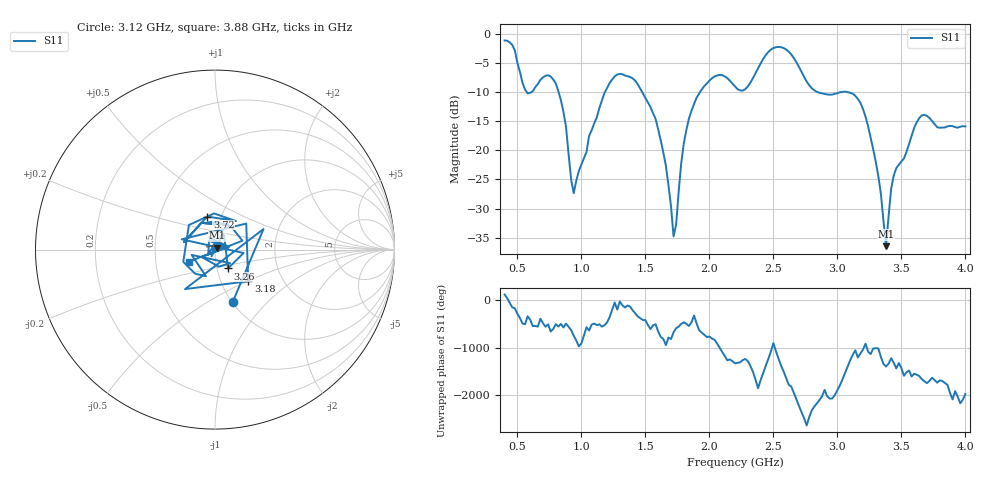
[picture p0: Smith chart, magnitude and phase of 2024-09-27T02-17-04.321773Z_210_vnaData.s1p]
!Created with skrf (http://scikit-rf.org).
# Hz S RI R 50.0
!freq ReS11 ImS11
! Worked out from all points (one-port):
!   181 points, 400 MHz to 4 GHz, reference 50 ohm
!   lowest |S11| = -36.5 dB at 3.38 GHz (marker M1), VSWR 1.03, Z = 51.1 + j1.04 ohm
!   |S11| at or under -10 dB: 821.9 MHz to 1.184 GHz (362.1 MHz wide, 36.1 % of centre); 1.475 GHz to 1.927 GHz (452.2 MHz wide, 26.6 % of centre); 3.078 GHz to end of sweep (the widest 3 of 5)
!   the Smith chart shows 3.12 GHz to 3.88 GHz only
!   S11 on the Smith chart (normalised r, x): 3.12 GHz: 1.01, -0.65; 3.18 GHz: 1.34, -0.51; 3.26 GHz: 1.13, -0.24; 3.72 GHz: 0.86, +0.33; 3.88 GHz: 0.74, -0.10
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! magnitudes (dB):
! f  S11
! 400 MHz  -1.1
! 580 MHz  -10.2
! 760 MHz  -7.3
! 860 MHz  -13.4
! 940 MHz  -27.4
! 1.18 GHz  -10.2
! 1.3 GHz  -6.9
! 1.58 GHz  -14.6
! 1.66 GHz  -22.7
! 1.72 GHz  -34.8
! 1.76 GHz  -27.1
! 1.82 GHz  -16.5
! 1.9 GHz  -11.0
! 2.06 GHz  -7.1
! 2.2 GHz  -9.0
! 2.5 GHz  -2.4
! 2.66 GHz  -4.2
! 2.84 GHz  -10.0
! 3.1 GHz  -10.1
! 3.12 GHz  -10.3
! 3.18 GHz  -11.8
! 3.26 GHz  -17.9
! 3.38 GHz  -36.5
! 3.44 GHz  -24.4
! 3.56 GHz  -18.9
! 3.72 GHz  -14.5
! 3.88 GHz  -15.8
! 4 GHz  -15.9
